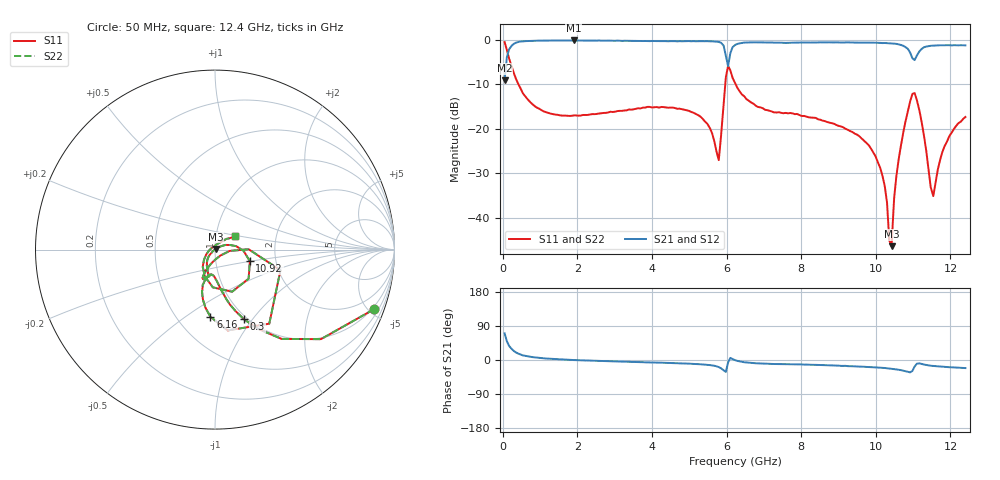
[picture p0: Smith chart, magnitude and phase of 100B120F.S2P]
!  American Technical Ceramics  Date:  3/13/98
!  One Norden Lane
!  Huntington Station,  NY.  11746-2102
!  Tel:  (516) 547-5700  Fax:  (516) 547-5748
!  Part Number  100b120f
!  Description: Porcelain, High Q, Low ESR
!  Application: Bypass, Coupling, Timing, Feedback
!  Tuning, Impedance Match, Blocking
# GHZ S DB R 50
! Freq  |S11|  S11 Ph  |S21|  S21 Ph  |S12|  S12 Ph  |S22|  S22 Ph
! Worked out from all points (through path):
!   201 points, 50 MHz to 12.4 GHz, reference 50 ohm
!   highest |S21| = -0.11 dB at 1.9 GHz (marker M1); lowest = -9.1 dB at 50 MHz (marker M2)
!   group delay of S21, straight-line fit = 7.5 ps
!   lowest |S11| = -46.3 dB at 10.42 GHz (marker M3), VSWR 1.01, Z = 50.3 + j0.361 ohm
!   |S11| at or under -10 dB: 422.5 MHz to 5.964 GHz (5.542 GHz wide, 174 % of centre); 6.246 GHz to end of sweep
!   |S22| runs from -46.3 to -0.5 dB; largest |S21 - S12| = 0
!   S11 on the Smith chart (normalised r, x): 50 MHz: 0.85, -5.38; 300 MHz: 0.96, -0.91; 6.16 GHz: 0.72, -0.63; 10.92 GHz: 1.47, -0.20; 12.4 GHz: 1.24, +0.19
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0.05  -0.48 -20.6  -9.06 70.3  -9.06 70.3  -0.48 -20.6
0.3  -7.51 -67.3  -0.85 23.6  -0.85 23.6  -7.51 -67.3
1.9  -16.96 -98.4  -0.11 -0.1  -0.11 -0.1  -16.96 -98.4
2.15  -16.85 -100.4  -0.13 -0.9  -0.13 -0.9  -16.85 -100.4
4.19  -15.20 -112.0  -0.26 -7.0  -0.26 -7.0  -15.20 -112.0
5.3  -17.23 -113.7  -0.27 -11.2  -0.27 -11.2  -17.23 -113.7
5.79  -27.00 -48.1  -0.43 -18.7  -0.43 -18.7  -27.00 -48.1
5.98  -8.35 -17.5  -3.53 -31.4  -3.53 -31.4  -8.35 -17.5
6.04  -5.82 -53.8  -5.88 -6.3  -5.88 -6.3  -5.82 -53.8
6.16  -8.51 -93.9  -1.63 2.4  -1.63 2.4  -8.51 -93.9
6.23  -9.72 -99.5  -1.11 -0.5  -1.11 -0.5  -9.72 -99.5
8.32  -17.46 -106.9  -0.58 -12.6  -0.58 -12.6  -17.46 -106.9
9.87  -24.41 -130.1  -0.61 -18.8  -0.61 -18.8  -24.41 -130.1
10.24  -32.90 -138.6  -0.68 -21.1  -0.68 -21.1  -32.90 -138.6
10.36  -45.02 -146.6  -0.75 -22.6  -0.75 -22.6  -45.02 -146.6
10.42  -46.33 48.0  -0.78 -23.2  -0.78 -23.2  -46.33 48.0
10.55  -30.62 31.1  -0.88 -24.9  -0.88 -24.9  -30.62 31.1
10.92  -13.78 -18.4  -2.86 -32.6  -2.86 -32.6  -13.78 -18.4
11.1  -13.53 -93.3  -3.48 -9.7  -3.48 -9.7  -13.53 -93.3
11.54  -35.08 113.6  -1.27 -15.7  -1.27 -15.7  -35.08 113.6
11.84  -23.91 48.4  -1.19 -18.3  -1.19 -18.3  -23.91 48.4
12.4  -17.30 33.2  -1.21 -21.3  -1.21 -21.3  -17.30 33.2
